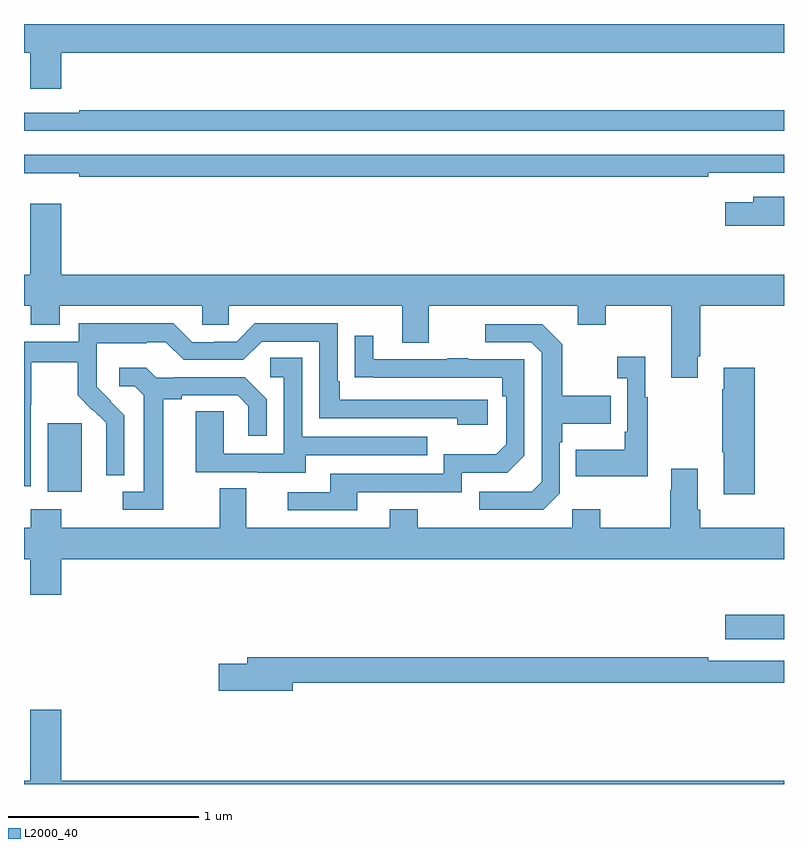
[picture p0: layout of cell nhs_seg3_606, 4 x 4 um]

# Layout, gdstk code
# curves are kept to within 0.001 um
import gdstk
lib = gdstk.Library(unit=1e-6, precision=1e-09)
def R(c, l, rs):  # rectangles x0, y0, x1, y1
    for r in rs: c.add(gdstk.rectangle(r[:2], r[2:], *l))
def P(c, l, *ps):  # polygons
    for p in ps: c.add(gdstk.Polygon(p, *l))
L2000_40 = (2000, 40)

nhs_seg3_606 = lib.new_cell('nhs_seg3_606')
R(nhs_seg3_606, L2000_40, [(144.69,699.161,145,699.291), (141.125,699.938,141.304,700.299)])
P(nhs_seg3_606, L2000_40, [(141.196,702.248),(145,702.248),(145,702.4),(141,702.4),(141,702.248),(141.032,702.248),(141.032,702.06),(141.196,702.06)],
  [(145,701.947),(141.292,701.947),(141.292,701.934),(141,701.934),(141,701.838),(145,701.838)],
  [(144.602,701.616),(145,701.616),(145,701.712),(141,701.712),(141,701.615),(141.292,701.615),(141.292,701.596),(144.602,701.596)],
  [(145,701.49),(144.839,701.49),(144.839,701.461),(144.69,701.461),(144.69,701.339),(145,701.339)],
  [(144.547,700.651),(144.56,700.651),(144.56,700.916),(145,700.916),(145,701.08),(141.196,701.08),(141.196,701.455),(141.032,701.455),(141.032,701.08),(141,701.08),(141,700.916),(141.035,700.916),(141.035,700.817),(141.187,700.817),(141.187,700.916),(141.939,700.916),(141.939,700.818),(142.077,700.818),(142.077,700.916),(142.991,700.916),(142.991,700.722),(143.131,700.722),(143.131,700.916),(143.915,700.916),(143.915,700.817),(144.063,700.817),(144.063,700.916),(144.407,700.916),(144.407,700.539),(144.547,700.539)],
  [(141.036,700.396),(141.039,700.396),(141.039,700.62),(141.283,700.62),(141.283,700.445),(141.36,700.368),(141.363,700.371),(141.434,700.301),(141.434,700.178),(141.432,700.178),(141.432,700.024),(141.528,700.024),(141.528,700.342),(141.382,700.49),(141.382,700.587),(141.384,700.587),(141.384,700.721),(141.647,700.721),(141.647,700.725),(141.747,700.725),(141.84,700.632),(142.155,700.632),(142.251,700.728),(142.554,700.728),(142.554,700.326),(143.279,700.326),(143.279,700.292),(143.44,700.292),(143.44,700.422),(142.663,700.422),(142.663,700.519),(142.65,700.519),(142.65,700.824),(142.215,700.824),(142.119,700.728),(142.001,700.728),(142.001,700.725),(141.885,700.725),(141.785,700.825),(141.288,700.825),(141.288,700.728),(141,700.728),(141,699.967),(141.036,699.967)],
  [(143.82,699.93),(143.82,700.199),(143.833,700.199),(143.833,700.295),(144.089,700.295),(144.089,700.443),(143.833,700.443),(143.833,700.715),(143.727,700.821),(143.427,700.821),(143.427,700.725),(143.67,700.725),(143.724,700.671),(143.724,699.99),(143.673,699.939),(143.397,699.939),(143.397,699.843),(143.733,699.843)],
  [(142.753,699.936),(143.304,699.936),(143.304,700.038),(143.544,700.038),(143.634,700.128),(143.634,700.635),(143.339,700.635),(143.339,700.64),(143.227,700.64),(143.227,700.635),(142.837,700.635),(142.837,700.759),(142.741,700.759),(142.741,700.54),(143.518,700.539),(143.518,700.442),(143.538,700.442),(143.538,700.188),(143.485,700.135),(143.208,700.135),(143.208,700.032),(142.613,700.032),(142.613,699.936),(142.389,699.936),(142.389,699.84),(142.753,699.84)],
  [(144.283,700.435),(144.271,700.435),(144.271,700.648),(144.123,700.648),(144.123,700.535),(144.174,700.535),(144.174,700.255),(144.162,700.255),(144.162,700.159),(143.905,700.159),(143.905,700.019),(144.283,700.019)],
  [(142.483,700.131),(143.123,700.131),(143.123,700.227),(142.464,700.227),(142.464,700.643),(142.296,700.643),(142.296,700.542),(142.368,700.542),(142.368,700.137),(142.05,700.137),(142.05,700.361),(141.905,700.361),(141.905,700.041),(142.229,700.041),(142.229,700.037),(142.483,700.037)],
  [(141.733,700.424),(141.829,700.424),(141.829,700.446),(142.124,700.446),(142.181,700.389),(142.181,700.233),(142.278,700.233),(142.278,700.426),(142.162,700.542),(141.79,700.542),(141.79,700.539),(141.696,700.539),(141.644,700.591),(141.501,700.591),(141.501,700.494),(141.582,700.494),(141.629,700.447),(141.629,699.939),(141.519,699.939),(141.519,699.843),(141.733,699.843)],
  [(144.846,700.591),(144.683,700.591),(144.683,700.478),(144.676,700.478),(144.676,700.147),(144.683,700.147),(144.683,699.924),(144.846,699.924)],
  [(145,699.748),(144.56,699.748),(144.56,699.844),(144.547,699.844),(144.547,700.06),(144.407,700.06),(144.407,699.947),(144.4,699.947),(144.4,699.748),(144.033,699.748),(144.033,699.847),(143.886,699.847),(143.886,699.748),(143.073,699.748),(143.073,699.847),(142.925,699.847),(142.925,699.748),(142.171,699.748),(142.171,699.956),(142.031,699.956),(142.031,699.748),(141.195,699.748),(141.195,699.847),(141.035,699.847),(141.035,699.748),(141,699.748),(141,699.584),(141.032,699.584),(141.032,699.396),(141.196,699.396),(141.196,699.584),(145,699.584)],
  [(142.414,698.932),(145,698.932),(145,699.048),(144.602,699.048),(144.602,699.068),(142.175,699.068),(142.175,699.032),(142.026,699.032),(142.026,698.89),(142.414,698.89)],
  [(145,698.416),(141.196,698.416),(141.196,698.791),(141.032,698.791),(141.032,698.416),(141,698.416),(141,698.4),(145,698.4)])

lib.write_gds('nhs_seg3_606.gds')
